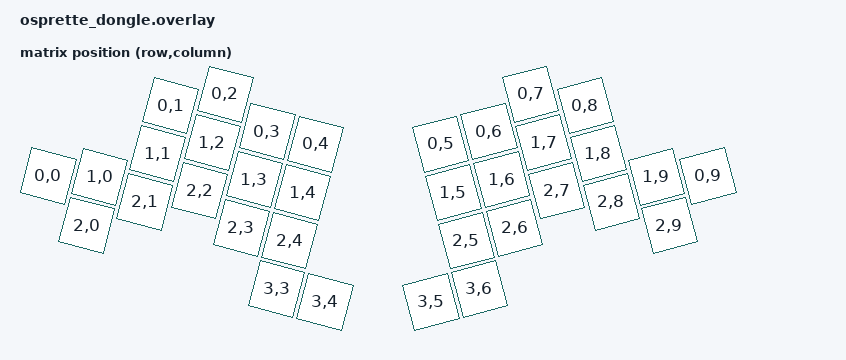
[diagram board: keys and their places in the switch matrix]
#include <dt-bindings/zmk/matrix_transform.h>
#include <physical_layouts.dtsi>

/ {
  chosen {
    zmk,kscan = &mock_kscan;
    zmk,physical-layout = &physical_layout0;
  };

  mock_kscan: mock_kscan_0 {
    compatible = "zmk,kscan-mock";
    columns = <0>;
    rows = <0>;
    events = <0>;
  };
  default_transform: keymap_transform_0 {
    compatible = "zmk,matrix-transform";
    columns = <10>;
    rows = <4>;
    map = <
      RC(0,1) RC(0,2) RC(0,3) RC(0,4) RC(0,5) RC(0,6) RC(0,7) RC(0,8)
      RC(0,0) RC(1,0) RC(1,1) RC(1,2) RC(1,3) RC(1,4) RC(1,5) RC(1,6) RC(1,7) RC(1,8) RC(1,9) RC(0,9)
      RC(2,0) RC(2,1) RC(2,2) RC(2,3) RC(2,4) RC(2,5) RC(2,6) RC(2,7) RC(2,8) RC(2,9)
      RC(3,3) RC(3,4) RC(3,5) RC(3,6)
    >;
  };

  physical_layout0: physical_layout_0 {
    compatible = "zmk,physical-layout";
    display-name = "Default";
    transform = <&default_transform>;
        keys  //                     w   h    x    y     rot    rx    ry
	    = <&key_physical_attrs 100 100  200   50    1500   800   550>
            , <&key_physical_attrs 100 100  300    0    1500   800   550>
            , <&key_physical_attrs 100 100  400   50    1500   800   550>
            , <&key_physical_attrs 100 100  500   50    1500   800   550>

            , <&key_physical_attrs 100 100 1000   50  (-1500)  800   550>
            , <&key_physical_attrs 100 100 1100   50  (-1500)  800   550>
            , <&key_physical_attrs 100 100 1200    0  (-1500)  800   550>
            , <&key_physical_attrs 100 100 1300   50  (-1500)  800   550>

            , <&key_physical_attrs 100 100    0  250    1500   800   550>
            , <&key_physical_attrs 100 100  100  225    1500   800   550>
            , <&key_physical_attrs 100 100  200  150    1500   800   550>
            , <&key_physical_attrs 100 100  300  100    1500   800   550>
            , <&key_physical_attrs 100 100  400  150    1500   800   550>
            , <&key_physical_attrs 100 100  500  150    1500   800   550>

            , <&key_physical_attrs 100 100 1000  150  (-1500)  800   550>
            , <&key_physical_attrs 100 100 1100  150  (-1500)  800   550>
            , <&key_physical_attrs 100 100 1200  100  (-1500)  800   550>
            , <&key_physical_attrs 100 100 1300  150  (-1500)  800   550>
            , <&key_physical_attrs 100 100 1400  225  (-1500)  800   550>
            , <&key_physical_attrs 100 100 1500  250  (-1500)  800   550>

            , <&key_physical_attrs 100 100  100  325    1500   800   550>
            , <&key_physical_attrs 100 100  200  250    1500   800   550>
            , <&key_physical_attrs 100 100  300  200    1500   800   550>
            , <&key_physical_attrs 100 100  400  250    1500   800   550>
            , <&key_physical_attrs 100 100  500  250    1500   800   550>

            , <&key_physical_attrs 100 100 1000  250  (-1500)  800   550>
            , <&key_physical_attrs 100 100 1100  250  (-1500)  800   550>
            , <&key_physical_attrs 100 100 1200  200  (-1500)  800   550>
            , <&key_physical_attrs 100 100 1300  250  (-1500)  800   550>
            , <&key_physical_attrs 100 100 1400  325  (-1500)  800   550>

            , <&key_physical_attrs 100 100  500  350    1500   800   550>
            , <&key_physical_attrs 100 100  600  350    1500   800   550>

            , <&key_physical_attrs 100 100  900  350  (-1500)  800   550>
            , <&key_physical_attrs 100 100 1000  350  (-1500)  800   550>
            ;
    };
};
